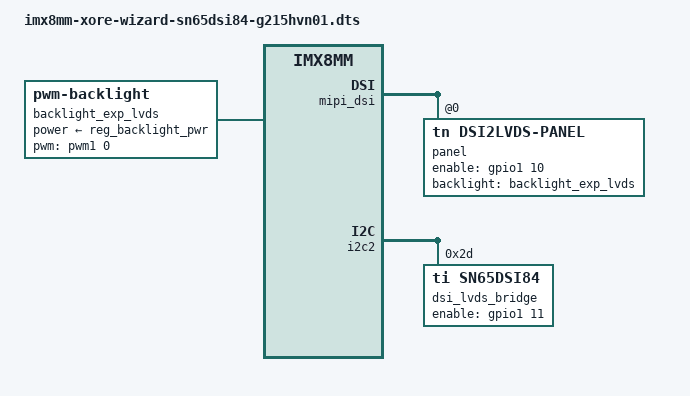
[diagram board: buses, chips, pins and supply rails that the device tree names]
/*
 * Copyright 2019 Technexion Ltd.
 * Copyright 2018 NXP
 *
 * Author: Wig Cheng <wig.cheng@technexion.com>
 *	   Andy Lin <andy.lin@technexio.com>
 *
 * This program is free software; you can redistribute it and/or
 * modify it under the terms of the GNU General Public License
 * as published by the Free Software Foundation; either version 2
 * of the License, or (at your option) any later version.
 *
 * This program is distributed in the hope that it will be useful,
 * but WITHOUT ANY WARRANTY; without even the implied warranty of
 * MERCHANTABILITY or FITNESS FOR A PARTICULAR PURPOSE.  See the
 * GNU General Public License for more details.
 */

#include "imx8mm-xore-wizard.dts"

/ {
	backlight_exp_lvds: backlight_exp_lvds {
		compatible = "pwm-backlight";
		pwms = <&pwm1 0 50000 0>;
		brightness-levels = <0 36 72 108 144 180 216 255>;
		default-brightness-level = <6>;
		power-supply = <&reg_backlight_pwr>;
		status = "okay";
	};
};

&mipi_dsi {
	status = "okay";

	panel@0 {
		reg = <0>;
		compatible = "tn,dsi2lvds-panel";
		enable-gpios = <&gpio1 10 GPIO_ACTIVE_HIGH>;
		backlight = <&backlight_exp_lvds>;
		dsi,flags = <0x0007>;
		dsi,format = <0>;
		dsi,lanes = <4>;
		panel-width-mm  = <476>;
		panel-height-mm = <268>;
		bus-format = <0x100a>;	/* MEDIA_BUS_FMT_RGB888_1X24 */
		bus-flags = <1>;
		refresh-rate = <60>;
		rotate = <0>;
		/* horz-flip; */
		/* vert-flip; */

		display-timings {
			native-mode = <&timing0>;
			timing0: g215hvn01 {
				clock-frequency = <70000000>;
				hactive = <1920>;
				vactive = <1080>;
				hfront-porch = <70>;
				hsync-len = <20>;
				hback-porch = <70>;
				vfront-porch = <17>;
				vsync-len = <4>;
				vback-porch = <17>;
				/* flags = DISPLAY_FLAGS_HSYNC_HIGH | DISPLAY_FLAGS_VSYNC_HIGH */
				vsync-active = <0>;
				hsync-active = <0>;
			};
		};
	};
};

&i2c2 {
	status = "okay";

	dsi_lvds_bridge: sn65dsi84@2d {
		reg = <0x2d>;
		status = "okay";
		compatible = "ti,sn65dsi84";
		#gpio-cells = <2>;
		pinctrl-0 = <&pinctrl_mipi_dsi_rst>;
		enable-gpios = <&gpio1 11 GPIO_ACTIVE_HIGH>;
		sn65dsi84,addresses = <0x09 0x0A 0x0B 0x0D
					0x10 0x11 0x12 0x13
					0x18 0x19 0x1A 0x1B
					0x20 0x21 0x22 0x23
					0x24 0x25 0x26 0x27
					0x28 0x29 0x2A 0x2B
					0x2C 0x2D 0x2E 0x2F
					0x30 0x31 0x32 0x33
					0x34 0x35 0x36 0x37
					0x38 0x39 0x3A 0x3B
					0x3C 0x3D 0x3E 0x0D>;

		sn65dsi84,values = </* reset and clock registers */
					0x00 0x03 0x20 0x00
					/* DSI registers */
					0x26 0x00 0x35 0x00
					/* LVDS registers */
					0x6c 0x00 0x03 0x00

					/* video registers */
					/* cha-al-len-l, cha-al-len-h, chb-al-len-l, chb-al-len-h */
					0x80 0x07 0x00 0x00
					/* cha-v-ds-l, cha-v-ds-h, chb-v-ds-l, chb-v-ds-h */
					0x00 0x00 0x00 0x00
					/* cha-sdl, cha-sdh, chb-sdl, chb-sdh */
					0xbd 0x01 0x00 0x00
					/* cha-hs-pwl, cha-hs-pwh, chb-hs-pwl, chb-hs-pwh */
					0x14 0x00 0x00 0x00
					/* cha-vs-pwl, cha-vs-pwh, chb-vs-pwl, chb-vs-pwh */
					0x04 0x00 0x00 0x00
					/*cha-hbp, chb-hbp, cha-vbp, chb-vbp*/
					0x46 0x00 0x00 0x00
					/* cha-hfp, chb-hfp, cha-vfp, chb-vfp*/
					0x00 0x00 0x00 0x00

					0x00 0x00 0x00 0x01>;
	};
};
